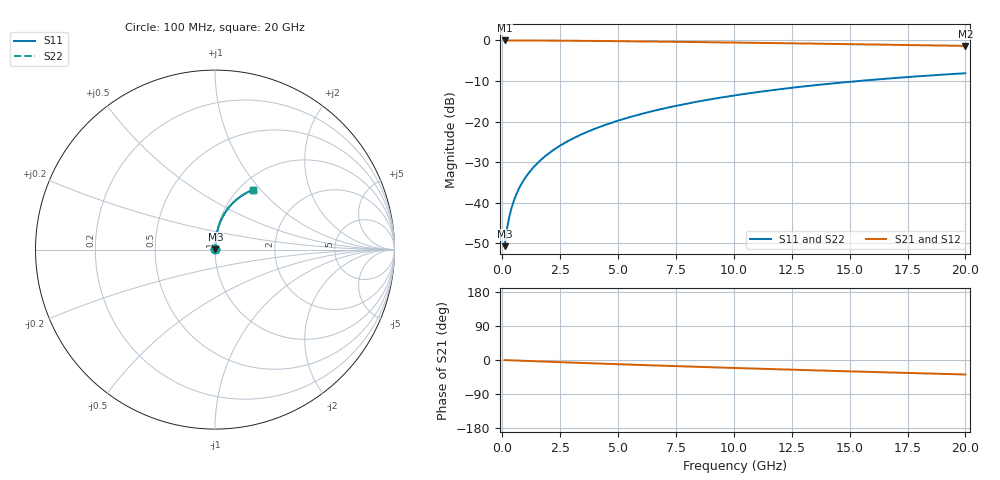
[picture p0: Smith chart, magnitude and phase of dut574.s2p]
! Touchstone file exported from HFSS 2024.1.0
!  File:  C:/UserFiles/LocalFiles/RDL_TSV_Batchsim/temp_RDL_top_574_1779681834.aedt
!  Generated:  12:06:07 PM May 25, 2026
!  Design:  RDL_top
!  Project:  temp_RDL_top_574_1779681834
!  Setup:  Setup1
!  Solution:  Sweep
! Variables:
!  dtsv = 10.80580581um
!  hbump = 3um
!  htsv = 68.37um
!  ldown = 100um
!  lrdl = 496.79um
!  p = 40
!  p1 = 59.8um
!  rhole = 1um
!  t = 450um
!  tdown = 3.915915916um
!  trdl = 4.74um
!  wdown = 15.38538539um
!  wrdl = 20.11um
# GHz S MA R 50.000000
! Terminal data exported
! Port[1] = Box2_T1
! Port[2] = Box2_T2
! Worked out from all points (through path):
!   200 points, 100 MHz to 20 GHz, reference 50 ohm
!   highest |S21| = -0.02 dB at 100 MHz (marker M1); lowest = -1.4 dB at 20 GHz (marker M2)
!   group delay of S21, straight-line fit = 5.27 ps
!   lowest |S11| = -50.7 dB at 100 MHz (marker M3), VSWR 1.01, Z = 50.2 + j0.214 ohm
!   |S11| at or under -10 dB: start of sweep to 15.4 GHz
!   |S22| runs from -50.7 to -8.1 dB; largest |S21 - S12| = 6e-15
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0.1  0.002916 47.0  0.998 -0.2  0.998 -0.2  0.002916 47.0
! Gamma 0 0 0 0
! Port Impedance 50 0 50 0
0.2  0.004713 63.9  0.9979 -0.5  0.9979 -0.5  0.004713 63.9
0.3  0.00666 70.9  0.9978 -0.7  0.9978 -0.7  0.00666 70.9
0.4  0.008628 74.6  0.9976 -0.9  0.9976 -0.9  0.008629 74.6
0.5  0.01059 76.9  0.9975 -1.2  0.9975 -1.2  0.0106 76.9
0.7  0.01452 79.7  0.9972 -1.6  0.9972 -1.6  0.01452 79.7
0.8  0.01649 80.7  0.997 -1.9  0.997 -1.9  0.01649 80.7
1  0.02044 82.0  0.9967 -2.3  0.9967 -2.3  0.02044 82.0
1.2  0.0244 82.9  0.9962 -2.8  0.9962 -2.8  0.0244 82.9
1.4  0.02838 83.5  0.9958 -3.2  0.9958 -3.2  0.02838 83.5
1.7  0.03439 84.0  0.9949 -3.9  0.9949 -3.9  0.03439 84.0
2  0.04043 84.4  0.994 -4.6  0.994 -4.6  0.04042 84.3
2.7  0.05465 84.5  0.9912 -6.2  0.9912 -6.2  0.05464 84.5
3.5  0.07112 84.2  0.9873 -7.9  0.9873 -7.9  0.07111 84.2
4.2  0.08572 83.7  0.9833 -9.4  0.9833 -9.4  0.0857 83.7
5  0.1026 82.9  0.9783 -11.1  0.9783 -11.1  0.1026 82.8
6.8  0.1411 80.5  0.9657 -14.8  0.9657 -14.8  0.141 80.4
8.4  0.1754 77.9  0.9536 -18.0  0.9536 -18.0  0.1753 77.9
10.1  0.2114 75.0  0.9401 -21.2  0.9401 -21.2  0.2113 75.0
13.4  0.2783 69.1  0.9126 -27.2  0.9126 -27.2  0.2782 69.0
16.7  0.3395 63.2  0.8842 -32.8  0.8842 -32.8  0.3393 63.2
20  0.3939 57.7  0.8553 -38.2  0.8553 -38.2  0.3937 57.7
